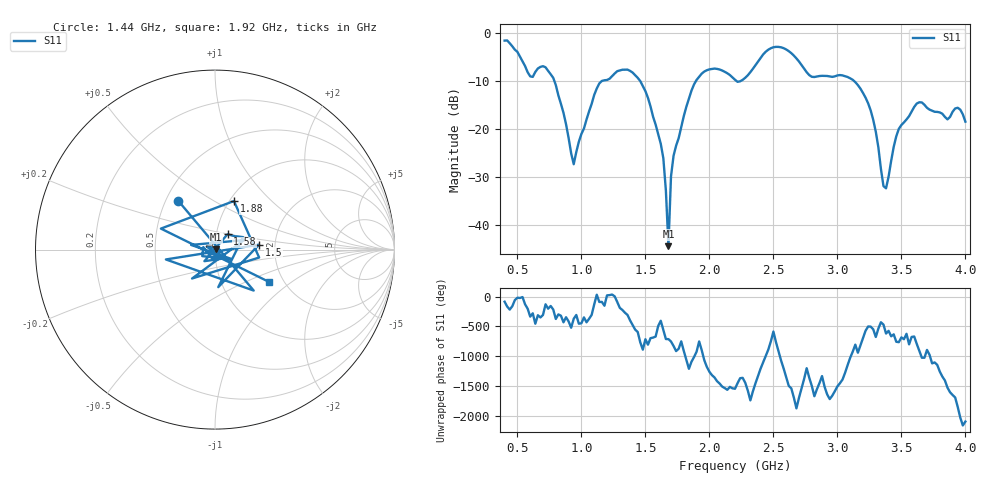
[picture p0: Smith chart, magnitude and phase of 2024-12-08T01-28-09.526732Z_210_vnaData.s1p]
!Created with skrf (http://scikit-rf.org).
# Hz S RI R 50.0
!freq ReS11 ImS11
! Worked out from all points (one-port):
!   181 points, 400 MHz to 4 GHz, reference 50 ohm
!   lowest |S11| = -44.5 dB at 1.68 GHz (marker M1), VSWR 1.01, Z = 50.6 + j0.0816 ohm
!   |S11| at or under -10 dB: 788.2 MHz to 1.163 GHz (374.9 MHz wide, 38.4 % of centre); 1.458 GHz to 1.896 GHz (437.6 MHz wide, 26.1 % of centre); 3.129 GHz to end of sweep (the widest 3 of 4)
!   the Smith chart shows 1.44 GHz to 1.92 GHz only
!   S11 on the Smith chart (normalised r, x): 1.44 GHz: 0.58, +0.36; 1.5 GHz: 1.65, +0.10; 1.58 GHz: 1.13, +0.20; 1.88 GHz: 1.05, +0.62; 1.92 GHz: 1.68, -0.68
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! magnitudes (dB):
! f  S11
! 400 MHz  -1.6
! 600 MHz  -9.1
! 720 MHz  -7.2
! 860 MHz  -16.7
! 940 MHz  -27.4
! 1.12 GHz  -11.6
! 1.3 GHz  -7.8
! 1.44 GHz  -9.4
! 1.5 GHz  -12.1
! 1.58 GHz  -19.1
! 1.64 GHz  -26.1
! 1.66 GHz  -32.9
! 1.68 GHz  -44.5
! 1.7 GHz  -29.9
! 1.76 GHz  -22.0
! 1.88 GHz  -10.7
! 1.92 GHz  -9.2
! 2.2 GHz  -9.8
! 2.48 GHz  -3.2
! 2.66 GHz  -4.7
! 2.8 GHz  -9.2
! 3.1 GHz  -9.5
! 3.26 GHz  -16.2
! 3.38 GHz  -32.4
! 3.46 GHz  -21.6
! 3.56 GHz  -17.4
! 3.66 GHz  -14.5
! 4 GHz  -18.5
